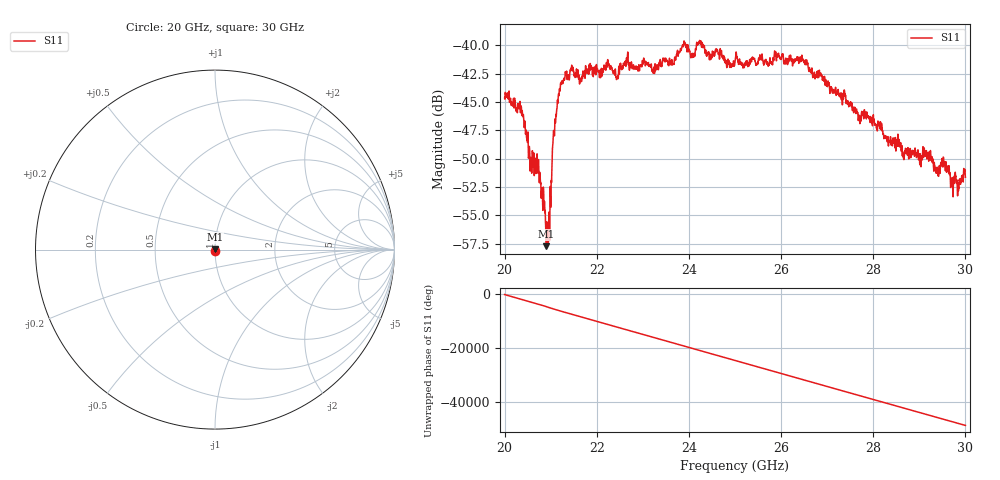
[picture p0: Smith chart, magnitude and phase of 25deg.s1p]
#  HZ  S  RI  R  50.00
! Rohde & Schwarz ZVA40 4Ports - Version 3.90 - 1145.1110k42 SN: 100403
! Date: 2023-10-03 11:44:09
! Measurement: S12
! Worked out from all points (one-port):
!   5001 points, 20 GHz to 30 GHz, reference 50 ohm
!   lowest |S11| = -57.7 dB at 20.91 GHz (marker M1), VSWR 1.00, Z = 50 + j0.126 ohm
!   |S11| at or under -10 dB: start of sweep to end of sweep
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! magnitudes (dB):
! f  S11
! 20 GHz  -44.6
! 20.37 GHz  -45.6
! 20.54 GHz  -49.3
! 20.74 GHz  -50.7
! 20.91 GHz  -57.7
! 20.93 GHz  -57.2
! 20.97 GHz  -56.5
! 21.1 GHz  -46.6
! 21.25 GHz  -43.2
! 21.46 GHz  -41.9
! 21.64 GHz  -43.1
! 22.5 GHz  -41.6
! 22.65 GHz  -41.2
! 23.24 GHz  -42.0
! 23.75 GHz  -40.5
! 23.9 GHz  -39.7
! 24.08 GHz  -40.8
! 24.22 GHz  -39.7
! 25 GHz  -41.4
! 26.25 GHz  -41.8
! 26.49 GHz  -41.5
! 27.5 GHz  -45.2
! 28.75 GHz  -49.1
! 29.15 GHz  -49.4
! 29.4 GHz  -51.2
! 29.53 GHz  -50.3
! 29.72 GHz  -52.1
! 30 GHz  -51.6
